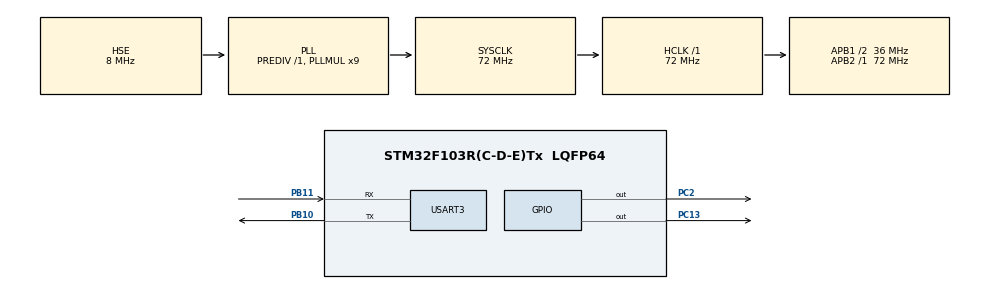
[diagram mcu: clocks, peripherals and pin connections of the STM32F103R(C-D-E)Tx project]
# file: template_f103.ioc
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Mcu.Family=STM32F1
Mcu.Name=STM32F103R(C-D-E)Tx
Mcu.Package=LQFP64
NVIC.PriorityGroup=NVIC_PRIORITYGROUP_4
PA13.Mode=Serial_Wire
PA13.Signal=SYS_JTMS-SWDIO
PA14.Mode=Serial_Wire
PA14.Signal=SYS_JTCK-SWCLK
PB10.Mode=Asynchronous
PB10.Signal=USART3_TX
PB11.Mode=Asynchronous
PB11.Signal=USART3_RX
PC13-TAMPER-RTC.Signal=GPIO_Output
PC2.Signal=GPIO_Output
PD0-OSC_IN.Mode=HSE-External-Oscillator
PD0-OSC_IN.Signal=RCC_OSC_IN
PD1-OSC_OUT.Mode=HSE-External-Oscillator
PD1-OSC_OUT.Signal=RCC_OSC_OUT
ProjectManager.HeapSize=0x200
ProjectManager.StackSize=0x400
ProjectManager.TargetToolchain=MDK-ARM V5.32
RCC.AHBFreq_Value=72000000
RCC.APB1CLKDivider=RCC_HCLK_DIV2
RCC.APB1Freq_Value=36000000
RCC.APB1TimFreq_Value=72000000
RCC.APB2Freq_Value=72000000
RCC.APB2TimFreq_Value=72000000
RCC.HCLKFreq_Value=72000000
RCC.PLLMUL=RCC_PLL_MUL9
RCC.PLLSourceVirtual=RCC_PLLSOURCE_HSE
RCC.SYSCLKFreq_VALUE=72000000
RCC.SYSCLKSource=RCC_SYSCLKSOURCE_PLLCLK
RCC.USBFreq_Value=72000000
USART3.VirtualMode=VM_ASYNC
board=custom

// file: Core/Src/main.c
/* USER CODE BEGIN Header */
/**
  ******************************************************************************
  * @file           : main.c
  * @brief          : Main program body
  *                   主程序入口，演示ulOS在STM32F103上的移植和多线程应用
  ******************************************************************************
  * @attention
  *
  * Copyright (c) 2025 STMicroelectronics.
  * All rights reserved.
  *
  * This software is licensed under terms that can be found in the LICENSE file
  * in the root directory of this software component.
  * If no LICENSE file comes with this software, it is provided AS-IS.
  *
  ******************************************************************************
  */
/* USER CODE END Header */
#include "main.h"
#include "usart.h"
#include "gpio.h"

/* USER CODE BEGIN Includes */
#include "ulOS_thread.h"  // 包含ulOS线程管理API
/* USER CODE END Includes */

void SystemClock_Config(void);

/* USER CODE BEGIN 0 */

/**
 * @brief 线程1的执行函数
 * @param p 线程参数指针
 * @note 该线程负责控制GPIO_PIN_2引脚的LED以100ms间隔闪烁
 */
void thread1_entry(void *p)
{
    while(1)
    {
        // 翻转GPIOC的第2号引脚状态，控制LED闪烁
        HAL_GPIO_TogglePin(GPIOC, GPIO_PIN_2);
        // 线程延时100个系统tick，实现100ms延时
        ul_thread_delay(100);
    }
}

/**
 * @brief 线程2的执行函数
 * @param p 线程参数指针
 * @note 该线程负责控制GPIO_PIN_13引脚的LED以300ms间隔闪烁
 */
void thread2_entry(void *p)
{
    while(1)
    {
        // 翻转GPIOC的第13号引脚状态，控制LED闪烁
        HAL_GPIO_TogglePin(GPIOC, GPIO_PIN_13);
        // 线程延时300个系统tick，实现300ms延时
        ul_thread_delay(300);
    }
}

/**
 * @brief 启动线程，用于创建和启动其他应用线程
 * @param p 线程参数指针
 * @note 该线程负责创建并启动thread1和thread2，然后自身进入低优先级循环
 */
void start_thread_entry(void *p)
{
    // 创建线程1：名称"t1"，入口函数thread1_entry，无参数，栈大小512字节，优先级0（最高），时间片1
    ul_thread_t *tid1 = ul_thread_create("t1", thread1_entry, UL_NULL, 512, 0, 1);
    // 创建线程2：名称"t2"，入口函数thread2_entry，无参数，栈大小512字节，优先级0（最高），时间片1
    ul_thread_t *tid2 = ul_thread_create("t2", thread2_entry, UL_NULL, 512, 0, 1);

    // 启动线程1和线程2
    ul_thread_startup(tid1);
    ul_thread_startup(tid2);

    while(1)
    {
        // 该线程自身延时10个系统tick，让出CPU给其他任务
        ul_thread_delay(10);
    }
}
/* USER CODE END 0 */

int main(void)
{

  /* MCU Configuration--------------------------------------------------------*/

  /* Reset of all peripherals, Initializes the Flash interface and the Systick. */
  HAL_Init();

  /* Configure the system clock */
  SystemClock_Config();

  /* Initialize all configured peripherals */
  MX_GPIO_Init();
  MX_USART3_UART_Init();
  /* USER CODE BEGIN 2 */
    // 初始化ulOS内核
    ul_kernel_init();

    // 创建并启动start线程：名称"start"，入口函数start_thread_entry，无参数，栈大小512字节，优先级1，时间片1
    ul_thread_startup(ul_thread_create("start", start_thread_entry, UL_NULL, 512, 1, 1));

    // 启动ulOS调度器，开始多线程调度
    ul_scheduler_start();
  /* USER CODE END 2 */

  /* Infinite loop */
  while (1)
  {

    /* USER CODE BEGIN 3 */
    // 此处不会被执行，因为调度器已经启动，控制权交给了ulOS
  }
  /* USER CODE END 3 */
}

void SystemClock_Config(void)
{
  RCC_OscInitTypeDef RCC_OscInitStruct = {0};
  RCC_ClkInitTypeDef RCC_ClkInitStruct = {0};

  /** Initializes the RCC Oscillators according to the specified parameters
  * in the RCC_OscInitTypeDef structure.
  */
  RCC_OscInitStruct.OscillatorType = RCC_OSCILLATORTYPE_HSE;
  RCC_OscInitStruct.HSEState = RCC_HSE_ON;
  RCC_OscInitStruct.HSEPredivValue = RCC_HSE_PREDIV_DIV1;
  RCC_OscInitStruct.HSIState = RCC_HSI_ON;
  RCC_OscInitStruct.PLL.PLLState = RCC_PLL_ON;
  RCC_OscInitStruct.PLL.PLLSource = RCC_PLLSOURCE_HSE;
  RCC_OscInitStruct.PLL.PLLMUL = RCC_PLL_MUL9;
  if (HAL_RCC_OscConfig(&RCC_OscInitStruct) != HAL_OK)
  {
    Error_Handler();
  }

  /** Initializes the CPU, AHB and APB buses clocks
  */
  RCC_ClkInitStruct.ClockType = RCC_CLOCKTYPE_HCLK|RCC_CLOCKTYPE_SYSCLK
                              |RCC_CLOCKTYPE_PCLK1|RCC_CLOCKTYPE_PCLK2;
  RCC_ClkInitStruct.SYSCLKSource = RCC_SYSCLKSOURCE_PLLCLK;
  RCC_ClkInitStruct.AHBCLKDivider = RCC_SYSCLK_DIV1;
  RCC_ClkInitStruct.APB1CLKDivider = RCC_HCLK_DIV2;
  RCC_ClkInitStruct.APB2CLKDivider = RCC_HCLK_DIV1;

  if (HAL_RCC_ClockConfig(&RCC_ClkInitStruct, FLASH_LATENCY_2) != HAL_OK)
  {
    Error_Handler();
  }
}

void Error_Handler(void)
{
  __disable_irq();
  while (1)
  {
  }
}
